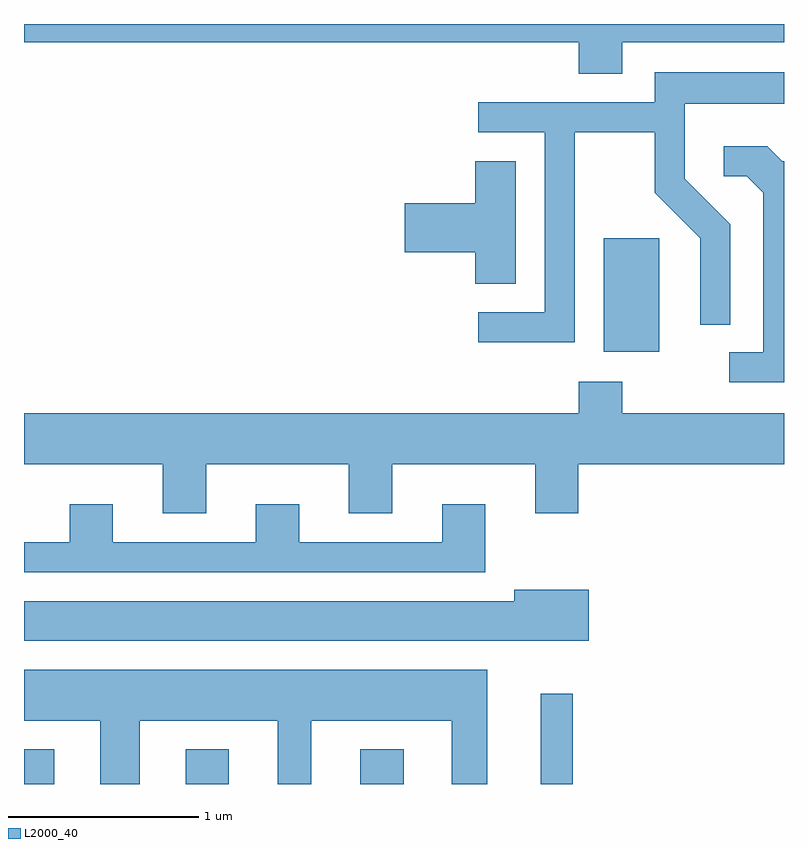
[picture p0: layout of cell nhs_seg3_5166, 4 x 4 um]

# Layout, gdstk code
import gdstk
lib = gdstk.Library(unit=1e-6, precision=1e-09)
def R(c, l, rs):  # rectangles x0, y0, x1, y1
    for r in rs: c.add(gdstk.rectangle(r[:2], r[2:], *l))
def P(c, l, *ps):  # polygons
    for p in ps: c.add(gdstk.Polygon(p, *l))
L2000_40 = (2000, 40)

nhs_seg3_5166 = lib.new_cell('nhs_seg3_5166')
R(nhs_seg3_5166, L2000_40, [(337.611,1119.892,337.769,1120.074), (338.461,1119.892,338.689,1120.074), (339.381,1119.892,339.609,1120.074), (340.331,1119.892,340.499,1120.368), (340.661,1122.166,340.954,1122.764)])
P(nhs_seg3_5166, L2000_40, [(340.759,1123.796),(341.611,1123.796),(341.611,1123.892),(337.611,1123.892),(337.611,1123.796),(340.531,1123.796),(340.531,1123.631),(340.759,1123.631)],
  [(340.509,1123.321),(340.931,1123.321),(340.931,1123.004),(341.171,1122.764),(341.171,1122.308),(341.329,1122.308),(341.329,1122.837),(341.089,1123.077),(341.089,1123.471),(341.611,1123.471),(341.611,1123.639),(340.931,1123.639),(340.931,1123.479),(340.003,1123.479),(340.003,1123.321),(340.351,1123.321),(340.351,1122.374),(340.003,1122.374),(340.003,1122.216),(340.509,1122.216)],
  [(341.611,1123.169),(341.602,1123.169),(341.522,1123.249),(341.293,1123.249),(341.293,1123.091),(341.414,1123.091),(341.501,1123.004),(341.501,1122.164),(341.323,1122.164),(341.323,1122.006),(341.611,1122.006)],
  [(340.199,1123.169),(339.986,1123.169),(339.986,1122.949),(339.616,1122.949),(339.616,1122.691),(339.986,1122.691),(339.986,1122.526),(340.199,1122.526)],
  [(338.569,1121.576),(339.321,1121.576),(339.321,1121.316),(339.549,1121.316),(339.549,1121.576),(340.301,1121.576),(340.301,1121.316),(340.529,1121.316),(340.529,1121.576),(341.611,1121.576),(341.611,1121.844),(340.759,1121.844),(340.759,1122.009),(340.531,1122.009),(340.531,1121.844),(337.611,1121.844),(337.611,1121.576),(338.341,1121.576),(338.341,1121.316),(338.569,1121.316)],
  [(340.039,1121.364),(339.811,1121.364),(339.811,1121.164),(339.059,1121.164),(339.059,1121.364),(338.831,1121.364),(338.831,1121.164),(338.079,1121.164),(338.079,1121.364),(337.851,1121.364),(337.851,1121.164),(337.611,1121.164),(337.611,1121.006),(340.039,1121.006)],
  [(340.584,1120.914),(340.191,1120.914),(340.191,1120.854),(337.611,1120.854),(337.611,1120.646),(340.584,1120.646)],
  [(338.219,1120.226),(338.946,1120.226),(338.946,1119.892),(339.124,1119.892),(339.124,1120.226),(339.861,1120.226),(339.861,1119.892),(340.049,1119.892),(340.049,1120.494),(337.611,1120.494),(337.611,1120.226),(338.011,1120.226),(338.011,1119.892),(338.219,1119.892)])

lib.write_gds('nhs_seg3_5166.gds')
